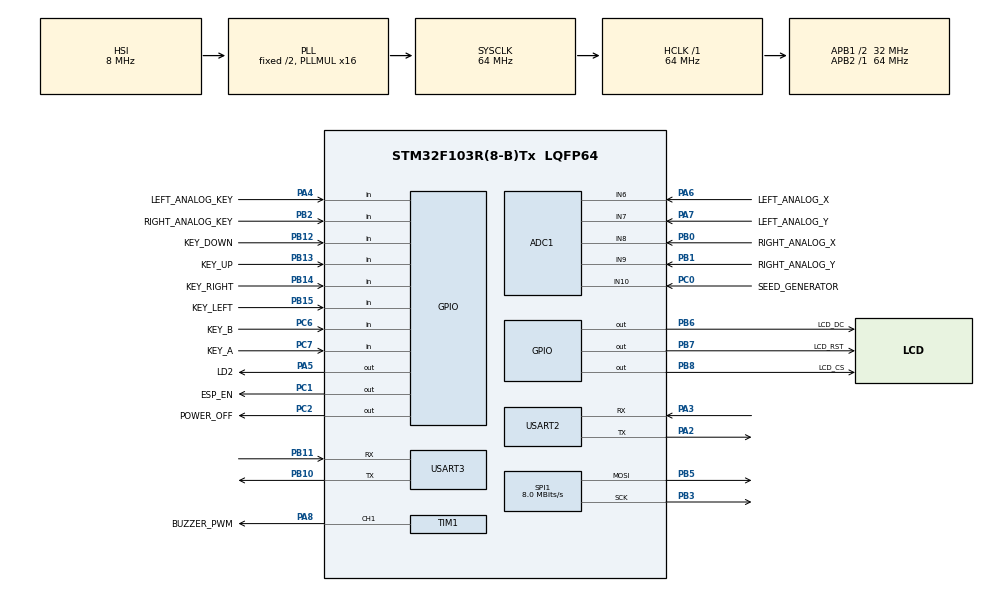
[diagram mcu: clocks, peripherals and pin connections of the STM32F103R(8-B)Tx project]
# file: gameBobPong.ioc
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ADC1.Channel-0\#ChannelRegularConversion=ADC_CHANNEL_6
ADC1.NbrOfConversionFlag=1
ADC1.Rank-0\#ChannelRegularConversion=1
ADC1.SamplingTime-0\#ChannelRegularConversion=ADC_SAMPLETIME_1CYCLE_5
ADC1.master=1
Dma.Request0=SPI1_TX
Dma.SPI1_TX.0.Direction=DMA_MEMORY_TO_PERIPH
Dma.SPI1_TX.0.Instance=DMA1_Channel3
Dma.SPI1_TX.0.MemDataAlignment=DMA_MDATAALIGN_BYTE
Dma.SPI1_TX.0.MemInc=DMA_MINC_ENABLE
Dma.SPI1_TX.0.Mode=DMA_NORMAL
Dma.SPI1_TX.0.PeriphDataAlignment=DMA_PDATAALIGN_BYTE
Dma.SPI1_TX.0.PeriphInc=DMA_PINC_DISABLE
Dma.SPI1_TX.0.Priority=DMA_PRIORITY_LOW
Mcu.Family=STM32F1
Mcu.Name=STM32F103R(8-B)Tx
Mcu.Package=LQFP64
NVIC.DMA1_Channel3_IRQn=true\:0\:0\:false\:false\:true\:false\:true\:true
NVIC.PriorityGroup=NVIC_PRIORITYGROUP_4
NVIC.TIM2_IRQn=true\:15\:0\:false\:false\:true\:false\:true\:true
NVIC.TimeBase=TIM2_IRQn
NVIC.TimeBaseIP=TIM2
PA13.Mode=Serial_Wire
PA13.Signal=SYS_JTMS-SWDIO
PA14.Mode=Serial_Wire
PA14.Signal=SYS_JTCK-SWCLK
PA2.Mode=Asynchronous
PA2.Signal=USART2_TX
PA3.Mode=Asynchronous
PA3.Signal=USART2_RX
PA4.GPIO_Label=LEFT_ANALOG_KEY
PA4.GPIO_PuPd=GPIO_PULLUP
PA4.Signal=GPIO_Input
PA5.GPIO_Label=LD2
PA5.Signal=GPIO_Output
PA6.GPIO_Label=LEFT_ANALOG_X
PA6.Signal=ADCx_IN6
PA7.GPIO_Label=LEFT_ANALOG_Y
PA7.Signal=ADCx_IN7
PA8.GPIO_Label=BUZZER_PWM
PA8.Signal=S_TIM1_CH1
PB0.GPIO_Label=RIGHT_ANALOG_X
PB0.Signal=ADCx_IN8
PB1.GPIO_Label=RIGHT_ANALOG_Y
PB1.Signal=ADCx_IN9
PB10.Mode=Asynchronous
PB10.Signal=USART3_TX
PB11.Mode=Asynchronous
PB11.Signal=USART3_RX
PB12.GPIO_Label=KEY_DOWN
PB12.GPIO_PuPd=GPIO_PULLUP
PB12.Signal=GPIO_Input
PB13.GPIO_Label=KEY_UP
PB13.GPIO_PuPd=GPIO_PULLUP
PB13.Signal=GPIO_Input
PB14.GPIO_Label=KEY_RIGHT
PB14.GPIO_PuPd=GPIO_PULLUP
PB14.Signal=GPIO_Input
PB15.GPIO_Label=KEY_LEFT
PB15.GPIO_PuPd=GPIO_PULLUP
PB15.Signal=GPIO_Input
PB2.GPIO_Label=RIGHT_ANALOG_KEY
PB2.GPIO_PuPd=GPIO_PULLUP
PB2.Signal=GPIO_Input
PB3.Mode=TX_Only_Simplex_Unidirect_Master
PB3.Signal=SPI1_SCK
PB5.Mode=TX_Only_Simplex_Unidirect_Master
PB5.Signal=SPI1_MOSI
PB6.GPIO_Label=LCD_DC
PB6.GPIO_Speed=GPIO_SPEED_FREQ_HIGH
PB6.PinState=GPIO_PIN_SET
PB6.Signal=GPIO_Output
PB7.GPIO_Label=LCD_RST
PB7.GPIO_PuPd=GPIO_PULLUP
PB7.GPIO_Speed=GPIO_SPEED_FREQ_HIGH
PB7.PinState=GPIO_PIN_SET
PB7.Signal=GPIO_Output
PB8.GPIO_Label=LCD_CS
PB8.GPIO_PuPd=GPIO_PULLUP
PB8.GPIO_Speed=GPIO_SPEED_FREQ_HIGH
PB8.PinState=GPIO_PIN_SET
PB8.Signal=GPIO_Output
PC0.GPIO_Label=SEED_GENERATOR
PC0.Signal=ADCx_IN10
PC1.GPIO_Label=ESP_EN
PC1.GPIO_PuPd=GPIO_PULLDOWN
PC1.Signal=GPIO_Output
PC2.GPIO_Label=POWER_OFF
PC2.Signal=GPIO_Output
PC6.GPIO_Label=KEY_B
PC6.GPIO_PuPd=GPIO_PULLUP
PC6.Signal=GPIO_Input
PC7.GPIO_Label=KEY_A
PC7.GPIO_PuPd=GPIO_PULLUP
PC7.Signal=GPIO_Input
ProjectManager.HeapSize=0x200
ProjectManager.StackSize=0x400
ProjectManager.TargetToolchain=CMake
RCC.ADCPresc=RCC_ADCPCLK2_DIV6
RCC.AHBFreq_Value=64000000
RCC.APB1CLKDivider=RCC_HCLK_DIV2
RCC.APB1Freq_Value=32000000
RCC.APB1TimFreq_Value=64000000
RCC.APB2Freq_Value=64000000
RCC.APB2TimFreq_Value=64000000
RCC.HCLKFreq_Value=64000000
RCC.PLLMUL=RCC_PLL_MUL16
RCC.SYSCLKFreq_VALUE=64000000
RCC.SYSCLKSource=RCC_SYSCLKSOURCE_PLLCLK
RCC.USBFreq_Value=64000000
SH.ADCx_IN10.0=ADC1_IN10,IN10
SH.ADCx_IN6.0=ADC1_IN6,IN6
SH.ADCx_IN7.0=ADC1_IN7,IN7
SH.ADCx_IN8.0=ADC1_IN8,IN8
SH.ADCx_IN9.0=ADC1_IN9,IN9
SH.S_TIM1_CH1.0=TIM1_CH1,PWM Generation1 CH1
SPI1.BaudRatePrescaler=SPI_BAUDRATEPRESCALER_8
SPI1.CalculateBaudRate=8.0 MBits/s
SPI1.Direction=SPI_DIRECTION_2LINES
SPI1.Mode=SPI_MODE_MASTER
SPI1.VirtualType=VM_MASTER
TIM1.AutoReloadPreload=TIM_AUTORELOAD_PRELOAD_DISABLE
TIM1.Channel-PWM\ Generation1\ CH1=TIM_CHANNEL_1
TIM1.Period=10006
TIM1.Prescaler=0
TIM1.Pulse-PWM\ Generation1\ CH1=500
USART2.VirtualMode=VM_ASYNC
USART3.VirtualMode=VM_ASYNC
VP_SYS_VS_tim2.Mode=TIM2
board=custom

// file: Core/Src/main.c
/* USER CODE BEGIN Header */
/**
  ******************************************************************************
  * @file           : main.c
  * @brief          : Main program body
  ******************************************************************************
  * @attention
  *
  * Copyright (c) 2025 STMicroelectronics.
  * All rights reserved.
  *
  * This software is licensed under terms that can be found in the LICENSE file
  * in the root directory of this software component.
  * If no LICENSE file comes with this software, it is provided AS-IS.
  *
  ******************************************************************************
  */
/* USER CODE END Header */
#include "main.h"

/* USER CODE BEGIN Includes */
#include "string.h"
#include "stdio.h"
#include "FreeRTOS.h"
#include "task.h"
#include "lcd.h"
#include "user.h"
#include "pong.h"
#include "pitches.h"
#include "main_menu.h"
/* USER CODE END Includes */

/* USER CODE BEGIN PM */
#define DEFAULT_FONT FONT_6X8
#define TIM_FREQ 64000000
#define MAX_OBJECTS 10 //uGUI
/* USER CODE END PM */

ADC_HandleTypeDef hadc1;

SPI_HandleTypeDef hspi1;
DMA_HandleTypeDef hdma_spi1_tx;

TIM_HandleTypeDef htim1;

UART_HandleTypeDef huart2;
UART_HandleTypeDef huart3;

/* USER CODE BEGIN PV */
//test

static USER_INPUT uInput;
static USER_INPUT uInputOld;
static StaticTask_t xIdleTaskTCBBuffer;
static StackType_t xIdleStack[configMINIMAL_STACK_SIZE];

/* UART BUFFER */

//uint8_t rx[50] = {0};
//volatile uint8_t found_flag = 0;
//uint8_t rx_index = 0;
//volatile uint8_t tx_completed_flag = 0;

//uGUI

/* USER CODE END PV */

void SystemClock_Config(void);
static void MX_GPIO_Init(void);
static void MX_DMA_Init(void);
static void MX_SPI1_Init(void);
static void MX_ADC1_Init(void);
static void MX_TIM1_Init(void);
static void MX_USART2_UART_Init(void);
static void MX_USART3_UART_Init(void);
/* USER CODE BEGIN PFP */
void vApplicationGetIdleTaskMemory( StaticTask_t **ppxIdleTaskTCBBuffer, StackType_t **ppxIdleTaskStackBuffer, uint32_t *pulIdleTaskStackSize );
void ADC_SetActiveChannel(ADC_HandleTypeDef *hadc, uint32_t AdcChannel);
static void initUserInput(USER_INPUT *uInput);

//uGUI
static void window_1_callback(UG_MESSAGE *msg);

/* TASK FUNCTIONS */

static void taskGetUserInput(void *pvParameters);
static void taskGameLogic(void *pvParameters);

TaskHandle_t h_task_game_logic = NULL;

/* USER CODE END PFP */

int main(void)
{

  /* USER CODE BEGIN 1 */
	BaseType_t xReturned;
	//SCB->VTOR = 0x8010000;
  /* USER CODE END 1 */

  /* MCU Configuration--------------------------------------------------------*/

  /* Reset of all peripherals, Initializes the Flash interface and the Systick. */
  HAL_Init();

  /* Configure the system clock */
  SystemClock_Config();

  /* Initialize all configured peripherals */
  MX_GPIO_Init();
  MX_DMA_Init();
  MX_SPI1_Init();
  MX_ADC1_Init();
  MX_TIM1_Init();
  MX_USART2_UART_Init();
  MX_USART3_UART_Init();
  /* USER CODE BEGIN 2 */
  LCD_init();
  initUserInput(&uInput);

  xReturned = xTaskCreate(taskGetUserInput,"taskGetUserInput",256,NULL,2,NULL);
  xReturned = xTaskCreate(taskGameLogic, "taskGameLogic", 512, NULL, 3, NULL);

  vTaskStartScheduler();
  /* USER CODE END 2 */

  /* Infinite loop */
  while (1)
  {

  }
}

void SystemClock_Config(void)
{
  RCC_OscInitTypeDef RCC_OscInitStruct = {0};
  RCC_ClkInitTypeDef RCC_ClkInitStruct = {0};
  RCC_PeriphCLKInitTypeDef PeriphClkInit = {0};

  /** Initializes the RCC Oscillators according to the specified parameters
  * in the RCC_OscInitTypeDef structure.
  */
  RCC_OscInitStruct.OscillatorType = RCC_OSCILLATORTYPE_HSI;
  RCC_OscInitStruct.HSIState = RCC_HSI_ON;
  RCC_OscInitStruct.HSICalibrationValue = RCC_HSICALIBRATION_DEFAULT;
  RCC_OscInitStruct.PLL.PLLState = RCC_PLL_ON;
  RCC_OscInitStruct.PLL.PLLSource = RCC_PLLSOURCE_HSI_DIV2;
  RCC_OscInitStruct.PLL.PLLMUL = RCC_PLL_MUL16;
  if (HAL_RCC_OscConfig(&RCC_OscInitStruct) != HAL_OK)
  {
    Error_Handler();
  }

  /** Initializes the CPU, AHB and APB buses clocks
  */
  RCC_ClkInitStruct.ClockType = RCC_CLOCKTYPE_HCLK|RCC_CLOCKTYPE_SYSCLK
                              |RCC_CLOCKTYPE_PCLK1|RCC_CLOCKTYPE_PCLK2;
  RCC_ClkInitStruct.SYSCLKSource = RCC_SYSCLKSOURCE_PLLCLK;
  RCC_ClkInitStruct.AHBCLKDivider = RCC_SYSCLK_DIV1;
  RCC_ClkInitStruct.APB1CLKDivider = RCC_HCLK_DIV2;
  RCC_ClkInitStruct.APB2CLKDivider = RCC_HCLK_DIV1;

  if (HAL_RCC_ClockConfig(&RCC_ClkInitStruct, FLASH_LATENCY_2) != HAL_OK)
  {
    Error_Handler();
  }
  PeriphClkInit.PeriphClockSelection = RCC_PERIPHCLK_ADC;
  PeriphClkInit.AdcClockSelection = RCC_ADCPCLK2_DIV6;
  if (HAL_RCCEx_PeriphCLKConfig(&PeriphClkInit) != HAL_OK)
  {
    Error_Handler();
  }
}

static void MX_ADC1_Init(void)
{

  ADC_ChannelConfTypeDef sConfig = {0};

  /** Common config
  */
  hadc1.Instance = ADC1;
  hadc1.Init.ScanConvMode = ADC_SCAN_DISABLE;
  hadc1.Init.ContinuousConvMode = DISABLE;
  hadc1.Init.DiscontinuousConvMode = DISABLE;
  hadc1.Init.ExternalTrigConv = ADC_SOFTWARE_START;
  hadc1.Init.DataAlign = ADC_DATAALIGN_RIGHT;
  hadc1.Init.NbrOfConversion = 1;
  if (HAL_ADC_Init(&hadc1) != HAL_OK)
  {
    Error_Handler();
  }

  /** Configure Regular Channel
  */
  sConfig.Channel = ADC_CHANNEL_6;
  sConfig.Rank = ADC_REGULAR_RANK_1;
  sConfig.SamplingTime = ADC_SAMPLETIME_1CYCLE_5;
  if (HAL_ADC_ConfigChannel(&hadc1, &sConfig) != HAL_OK)
  {
    Error_Handler();
  }

}

static void MX_SPI1_Init(void)
{

  /* SPI1 parameter configuration*/
  hspi1.Instance = SPI1;
  hspi1.Init.Mode = SPI_MODE_MASTER;
  hspi1.Init.Direction = SPI_DIRECTION_2LINES;
  hspi1.Init.DataSize = SPI_DATASIZE_8BIT;
  hspi1.Init.CLKPolarity = SPI_POLARITY_LOW;
  hspi1.Init.CLKPhase = SPI_PHASE_1EDGE;
  hspi1.Init.NSS = SPI_NSS_SOFT;
  hspi1.Init.BaudRatePrescaler = SPI_BAUDRATEPRESCALER_8;
  hspi1.Init.FirstBit = SPI_FIRSTBIT_MSB;
  hspi1.Init.TIMode = SPI_TIMODE_DISABLE;
  hspi1.Init.CRCCalculation = SPI_CRCCALCULATION_DISABLE;
  hspi1.Init.CRCPolynomial = 10;
  if (HAL_SPI_Init(&hspi1) != HAL_OK)
  {
    Error_Handler();
  }

}

static void MX_TIM1_Init(void)
{

  TIM_MasterConfigTypeDef sMasterConfig = {0};
  TIM_OC_InitTypeDef sConfigOC = {0};
  TIM_BreakDeadTimeConfigTypeDef sBreakDeadTimeConfig = {0};

  htim1.Instance = TIM1;
  htim1.Init.Prescaler = 0;
  htim1.Init.CounterMode = TIM_COUNTERMODE_UP;
  htim1.Init.Period = 10006;
  htim1.Init.ClockDivision = TIM_CLOCKDIVISION_DIV1;
  htim1.Init.RepetitionCounter = 0;
  htim1.Init.AutoReloadPreload = TIM_AUTORELOAD_PRELOAD_DISABLE;
  if (HAL_TIM_PWM_Init(&htim1) != HAL_OK)
  {
    Error_Handler();
  }
  sMasterConfig.MasterOutputTrigger = TIM_TRGO_RESET;
  sMasterConfig.MasterSlaveMode = TIM_MASTERSLAVEMODE_DISABLE;
  if (HAL_TIMEx_MasterConfigSynchronization(&htim1, &sMasterConfig) != HAL_OK)
  {
    Error_Handler();
  }
  sConfigOC.OCMode = TIM_OCMODE_PWM1;
  sConfigOC.Pulse = 500;
  sConfigOC.OCPolarity = TIM_OCPOLARITY_HIGH;
  sConfigOC.OCNPolarity = TIM_OCNPOLARITY_HIGH;
  sConfigOC.OCFastMode = TIM_OCFAST_DISABLE;
  sConfigOC.OCIdleState = TIM_OCIDLESTATE_RESET;
  sConfigOC.OCNIdleState = TIM_OCNIDLESTATE_RESET;
  if (HAL_TIM_PWM_ConfigChannel(&htim1, &sConfigOC, TIM_CHANNEL_1) != HAL_OK)
  {
    Error_Handler();
  }
  sBreakDeadTimeConfig.OffStateRunMode = TIM_OSSR_DISABLE;
  sBreakDeadTimeConfig.OffStateIDLEMode = TIM_OSSI_DISABLE;
  sBreakDeadTimeConfig.LockLevel = TIM_LOCKLEVEL_OFF;
  sBreakDeadTimeConfig.DeadTime = 0;
  sBreakDeadTimeConfig.BreakState = TIM_BREAK_DISABLE;
  sBreakDeadTimeConfig.BreakPolarity = TIM_BREAKPOLARITY_HIGH;
  sBreakDeadTimeConfig.AutomaticOutput = TIM_AUTOMATICOUTPUT_DISABLE;
  if (HAL_TIMEx_ConfigBreakDeadTime(&htim1, &sBreakDeadTimeConfig) != HAL_OK)
  {
    Error_Handler();
  }
  HAL_TIM_MspPostInit(&htim1);

}

static void MX_USART2_UART_Init(void)
{

  huart2.Instance = USART2;
  huart2.Init.BaudRate = 115200;
  huart2.Init.WordLength = UART_WORDLENGTH_8B;
  huart2.Init.StopBits = UART_STOPBITS_1;
  huart2.Init.Parity = UART_PARITY_NONE;
  huart2.Init.Mode = UART_MODE_TX_RX;
  huart2.Init.HwFlowCtl = UART_HWCONTROL_NONE;
  huart2.Init.OverSampling = UART_OVERSAMPLING_16;
  if (HAL_UART_Init(&huart2) != HAL_OK)
  {
    Error_Handler();
  }

}

static void MX_USART3_UART_Init(void)
{

  huart3.Instance = USART3;
  huart3.Init.BaudRate = 115200;
  huart3.Init.WordLength = UART_WORDLENGTH_8B;
  huart3.Init.StopBits = UART_STOPBITS_1;
  huart3.Init.Parity = UART_PARITY_NONE;
  huart3.Init.Mode = UART_MODE_TX_RX;
  huart3.Init.HwFlowCtl = UART_HWCONTROL_NONE;
  huart3.Init.OverSampling = UART_OVERSAMPLING_16;
  if (HAL_UART_Init(&huart3) != HAL_OK)
  {
    Error_Handler();
  }

}

static void MX_DMA_Init(void)
{

  /* DMA controller clock enable */
  __HAL_RCC_DMA1_CLK_ENABLE();

  /* DMA interrupt init */
  /* DMA1_Channel3_IRQn interrupt configuration */
  HAL_NVIC_SetPriority(DMA1_Channel3_IRQn, 0, 0);
  HAL_NVIC_EnableIRQ(DMA1_Channel3_IRQn);

}

static void MX_GPIO_Init(void)
{
  GPIO_InitTypeDef GPIO_InitStruct = {0};

  /* GPIO Ports Clock Enable */
  __HAL_RCC_GPIOC_CLK_ENABLE();
  __HAL_RCC_GPIOA_CLK_ENABLE();
  __HAL_RCC_GPIOB_CLK_ENABLE();

  /*Configure GPIO pin Output Level */
  HAL_GPIO_WritePin(GPIOC, ESP_EN_Pin|POWER_OFF_Pin, GPIO_PIN_RESET);

  /*Configure GPIO pin Output Level */
  HAL_GPIO_WritePin(LD2_GPIO_Port, LD2_Pin, GPIO_PIN_RESET);

  /*Configure GPIO pin Output Level */
  HAL_GPIO_WritePin(GPIOB, LCD_DC_Pin|LCD_RST_Pin|LCD_CS_Pin, GPIO_PIN_SET);

  /*Configure GPIO pin : ESP_EN_Pin */
  GPIO_InitStruct.Pin = ESP_EN_Pin;
  GPIO_InitStruct.Mode = GPIO_MODE_OUTPUT_PP;
  GPIO_InitStruct.Pull = GPIO_PULLDOWN;
  GPIO_InitStruct.Speed = GPIO_SPEED_FREQ_LOW;
  HAL_GPIO_Init(ESP_EN_GPIO_Port, &GPIO_InitStruct);

  /*Configure GPIO pin : POWER_OFF_Pin */
  GPIO_InitStruct.Pin = POWER_OFF_Pin;
  GPIO_InitStruct.Mode = GPIO_MODE_OUTPUT_PP;
  GPIO_InitStruct.Pull = GPIO_NOPULL;
  GPIO_InitStruct.Speed = GPIO_SPEED_FREQ_LOW;
  HAL_GPIO_Init(POWER_OFF_GPIO_Port, &GPIO_InitStruct);

  /*Configure GPIO pin : LEFT_ANALOG_KEY_Pin */
  GPIO_InitStruct.Pin = LEFT_ANALOG_KEY_Pin;
  GPIO_InitStruct.Mode = GPIO_MODE_INPUT;
  GPIO_InitStruct.Pull = GPIO_PULLUP;
  HAL_GPIO_Init(LEFT_ANALOG_KEY_GPIO_Port, &GPIO_InitStruct);

  /*Configure GPIO pin : LD2_Pin */
  GPIO_InitStruct.Pin = LD2_Pin;
  GPIO_InitStruct.Mode = GPIO_MODE_OUTPUT_PP;
  GPIO_InitStruct.Pull = GPIO_NOPULL;
  GPIO_InitStruct.Speed = GPIO_SPEED_FREQ_LOW;
  HAL_GPIO_Init(LD2_GPIO_Port, &GPIO_InitStruct);

  /*Configure GPIO pins : RIGHT_ANALOG_KEY_Pin KEY_DOWN_Pin KEY_UP_Pin KEY_RIGHT_Pin
                           KEY_LEFT_Pin */
  GPIO_InitStruct.Pin = RIGHT_ANALOG_KEY_Pin|KEY_DOWN_Pin|KEY_UP_Pin|KEY_RIGHT_Pin
                          |KEY_LEFT_Pin;
  GPIO_InitStruct.Mode = GPIO_MODE_INPUT;
  GPIO_InitStruct.Pull = GPIO_PULLUP;
  HAL_GPIO_Init(GPIOB, &GPIO_InitStruct);

  /*Configure GPIO pins : KEY_B_Pin KEY_A_Pin */
  GPIO_InitStruct.Pin = KEY_B_Pin|KEY_A_Pin;
  GPIO_InitStruct.Mode = GPIO_MODE_INPUT;
  GPIO_InitStruct.Pull = GPIO_PULLUP;
  HAL_GPIO_Init(GPIOC, &GPIO_InitStruct);

  /*Configure GPIO pin : LCD_DC_Pin */
  GPIO_InitStruct.Pin = LCD_DC_Pin;
  GPIO_InitStruct.Mode = GPIO_MODE_OUTPUT_PP;
  GPIO_InitStruct.Pull = GPIO_NOPULL;
  GPIO_InitStruct.Speed = GPIO_SPEED_FREQ_HIGH;
  HAL_GPIO_Init(LCD_DC_GPIO_Port, &GPIO_InitStruct);

  /*Configure GPIO pins : LCD_RST_Pin LCD_CS_Pin */
  GPIO_InitStruct.Pin = LCD_RST_Pin|LCD_CS_Pin;
  GPIO_InitStruct.Mode = GPIO_MODE_OUTPUT_PP;
  GPIO_InitStruct.Pull = GPIO_PULLUP;
  GPIO_InitStruct.Speed = GPIO_SPEED_FREQ_HIGH;
  HAL_GPIO_Init(GPIOB, &GPIO_InitStruct);

}

/* USER CODE BEGIN 4 */

void ADC_SetActiveChannel(ADC_HandleTypeDef *hadc, uint32_t AdcChannel)
{
  ADC_ChannelConfTypeDef sConfig = {0};
  sConfig.Channel = AdcChannel;
  sConfig.Rank = 1;
  sConfig.SamplingTime = ADC_SAMPLETIME_1CYCLE_5;
  if (HAL_ADC_ConfigChannel(hadc, &sConfig) != HAL_OK)
  {
   Error_Handler();
  }
}

static void taskGameLogic(void *pvParameters){

	initGame(&htim1,uInput);
	for(;;){
		gameInput(uInput);
		gameLogic();
		vTaskDelay(33);
	}
}

static void taskGetUserInput(void *pvParameters){
	/* Check analog input */
	uint16_t joystick[4] = {0}; //0 - X axis ; 1 - Y axis
	char buffer[20];
	uint32_t adc_channel = ADC_CHANNEL_6;
	uint32_t adc_channels[4] = {ADC_CHANNEL_6,ADC_CHANNEL_7,ADC_CHANNEL_8,ADC_CHANNEL_9};
	for(;;){
		for(int i=0;i<4;i++){
			ADC_SetActiveChannel(&hadc1, adc_channels[i]);
			HAL_ADC_Start(&hadc1);
			HAL_ADC_PollForConversion(&hadc1, 10);
			joystick[i] = HAL_ADC_GetValue(&hadc1);
		}

		uInputOld = uInput;

		uInput.leftXAxis = joystick[0];
		uInput.leftYAxis = joystick[1];
		uInput.rightXAxis = joystick[2];
		uInput.rightYAxis = joystick[3];

		/* Check analog key press */
		uInput.leftAnalogKey = HAL_GPIO_ReadPin(LEFT_ANALOG_KEY_GPIO_Port, LEFT_ANALOG_KEY_Pin);
		uInput.rightAnalogKey = HAL_GPIO_ReadPin(RIGHT_ANALOG_KEY_GPIO_Port, RIGHT_ANALOG_KEY_Pin);

		/* Check buttons state */
		uInput.keyDown = HAL_GPIO_ReadPin(KEY_DOWN_GPIO_Port, KEY_DOWN_Pin);
		uInput.keyUp = HAL_GPIO_ReadPin(KEY_UP_GPIO_Port, KEY_UP_Pin);
		uInput.keyB = HAL_GPIO_ReadPin(KEY_B_GPIO_Port, KEY_B_Pin);
		uInput.keyA = HAL_GPIO_ReadPin(KEY_A_GPIO_Port, KEY_A_Pin);

		/* Get seed */
		ADC_SetActiveChannel(&hadc1, ADC_CHANNEL_10);
		HAL_ADC_Start(&hadc1);
		HAL_ADC_PollForConversion(&hadc1, 10);
		uInput.seed = HAL_ADC_GetValue(&hadc1);
		vTaskDelay(33);
	}
}

static void initUserInput(USER_INPUT *uInput){
	uInput->leftXAxis = 2000;
	uInput->leftYAxis = 2000;
	uInput->rightXAxis = 2000;
	uInput->rightYAxis = 2000;
	uInput->keyLeft = GPIO_PIN_SET;
	uInput->keyRight = GPIO_PIN_SET;
	uInput->keyUp = GPIO_PIN_SET;
	uInput->keyDown = GPIO_PIN_SET;
	uInput->keyA = GPIO_PIN_SET;
	uInput->keyB = GPIO_PIN_SET;

	ADC_SetActiveChannel(&hadc1, ADC_CHANNEL_10);
	HAL_ADC_Start(&hadc1);
	HAL_ADC_PollForConversion(&hadc1, 10);
	uInput->seed = HAL_ADC_GetValue(&hadc1);

}

void vApplicationGetIdleTaskMemory( StaticTask_t **ppxIdleTaskTCBBuffer, StackType_t **ppxIdleTaskStackBuffer, uint32_t *pulIdleTaskStackSize )
{
  *ppxIdleTaskTCBBuffer = &xIdleTaskTCBBuffer;
  *ppxIdleTaskStackBuffer = &xIdleStack[0];
  *pulIdleTaskStackSize = configMINIMAL_STACK_SIZE;
  /* place for user code */
}

/*
static uint8_t initEsp8266(UART_HandleTypeDef *huart){
	char buffer[20];
	sprintf(buffer, "AT\r\n");
	HAL_UART_Transmit_IT(&huart3, (uint8_t*)buffer, strlen(buffer));
	//HAL_Delay(1000);
	while(!tx_completed_flag){
	}
	HAL_UART_Receive_IT(&huart3, (uint8_t*)rx, 1);
	while(!found_flag){
	}
	return found_flag;
}
*/

//void HAL_UART_TxCpltCallback(UART_HandleTypeDef *huart)
//{
	//ESP8266_UART_TxCpltCallback(huart);
	/*
	tx_completed_flag = 1;
	*/
//}

//void HAL_UART_RxCpltCallback(UART_HandleTypeDef *huart)
//{
	//ESP8266_UART_RxCpltCallback(huart);

//}

/* USER CODE END 4 */

void HAL_TIM_PeriodElapsedCallback(TIM_HandleTypeDef *htim)
{
  if (htim->Instance == TIM2)
  {
    HAL_IncTick();
  }
}

void Error_Handler(void)
{
  __disable_irq();
  while (1)
  {
  }
}
